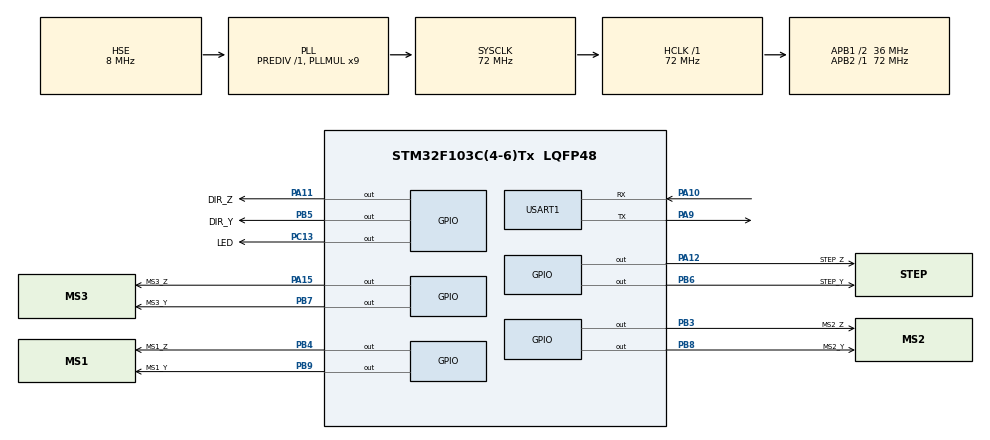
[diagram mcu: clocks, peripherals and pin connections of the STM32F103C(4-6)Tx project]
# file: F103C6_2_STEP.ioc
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Mcu.Family=STM32F1
Mcu.Name=STM32F103C(4-6)Tx
Mcu.Package=LQFP48
NVIC.PriorityGroup=NVIC_PRIORITYGROUP_4
NVIC.TIM2_IRQn=true\:0\:0\:false\:false\:true\:true\:true\:true
NVIC.TIM3_IRQn=true\:0\:0\:false\:false\:true\:true\:true\:true
NVIC.USART1_IRQn=true\:0\:0\:false\:false\:true\:true\:true\:true
PA10.Mode=Asynchronous
PA10.Signal=USART1_RX
PA11.GPIO_Label=DIR_Z
PA11.Signal=GPIO_Output
PA12.GPIO_Label=STEP_Z
PA12.Signal=GPIO_Output
PA13.Mode=Serial_Wire
PA13.Signal=SYS_JTMS-SWDIO
PA14.Mode=Serial_Wire
PA14.Signal=SYS_JTCK-SWCLK
PA15.GPIO_Label=MS3_Z
PA15.Signal=GPIO_Output
PA9.Mode=Asynchronous
PA9.Signal=USART1_TX
PB3.GPIO_Label=MS2_Z
PB3.Signal=GPIO_Output
PB4.GPIO_Label=MS1_Z
PB4.Signal=GPIO_Output
PB5.GPIO_Label=DIR_Y
PB5.Signal=GPIO_Output
PB6.GPIO_Label=STEP_Y
PB6.Signal=GPIO_Output
PB7.GPIO_Label=MS3_Y
PB7.Signal=GPIO_Output
PB8.GPIO_Label=MS2_Y
PB8.Signal=GPIO_Output
PB9.GPIO_Label=MS1_Y
PB9.Signal=GPIO_Output
PC13-TAMPER-RTC.GPIO_Label=LED
PC13-TAMPER-RTC.Signal=GPIO_Output
PD0-OSC_IN.Mode=HSE-External-Oscillator
PD0-OSC_IN.Signal=RCC_OSC_IN
PD1-OSC_OUT.Mode=HSE-External-Oscillator
PD1-OSC_OUT.Signal=RCC_OSC_OUT
ProjectManager.HeapSize=0x200
ProjectManager.StackSize=0x400
ProjectManager.TargetToolchain=MDK-ARM V5.32
RCC.AHBFreq_Value=72000000
RCC.APB1CLKDivider=RCC_HCLK_DIV2
RCC.APB1Freq_Value=36000000
RCC.APB1TimFreq_Value=72000000
RCC.APB2Freq_Value=72000000
RCC.APB2TimFreq_Value=72000000
RCC.HCLKFreq_Value=72000000
RCC.PLLMUL=RCC_PLL_MUL9
RCC.PLLSourceVirtual=RCC_PLLSOURCE_HSE
RCC.SYSCLKFreq_VALUE=72000000
RCC.SYSCLKSource=RCC_SYSCLKSOURCE_PLLCLK
RCC.USBFreq_Value=72000000
TIM2.Period=100-1
TIM2.Prescaler=72-1
TIM3.Period=100-1
TIM3.Prescaler=72-1
USART1.VirtualMode=VM_ASYNC
VP_TIM1_VS_ClockSourceINT.Mode=Internal
VP_TIM2_VS_ClockSourceINT.Mode=Internal
VP_TIM3_VS_ClockSourceINT.Mode=Internal
board=custom

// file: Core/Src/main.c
/* USER CODE BEGIN Header */
/**
 ******************************************************************************
 * @file           : main.c
 * @brief          : Main program body
 ******************************************************************************
 * @attention
 *
 * Copyright (c) 2023 STMicroelectronics.
 * All rights reserved.
 *
 * This software is licensed under terms that can be found in the LICENSE file
 * in the root directory of this software component.
 * If no LICENSE file comes with this software, it is provided AS-IS.
 *
 ******************************************************************************
 */
/* USER CODE END Header */
#include "main.h"
#include "tim.h"
#include "usart.h"
#include "gpio.h"

/* USER CODE BEGIN Includes */
#include "stdbool.h"
#include "stdio.h"
#include "stdlib.h"
#include "stepFloor.h"
#include "stepPosition.h"

/* USER CODE END Includes */

/* USER CODE BEGIN PV */
stepPosition_t stepP = {};
stepFloor_t stepF = {};
/* USER CODE END PV */

void SystemClock_Config(void);

/* USER CODE BEGIN 0 */
#define SIZE_DATA 128
volatile uint8_t pData[SIZE_DATA]  = {};
uint8_t RxData;
volatile uint8_t i = 0;
extern eFloor_t floorRead;
extern ePosition_t positionRead;

uint8_t num1 = 0, num2 = 0;
bool flagRx = false;

int led = 0;
uint16_t angle_floor = 0, angle_position = 0;
volatile uint64_t pulseP = 0, pulseF = 0;
uint16_t pulseStepP = 0, pulseStepF = 0;

void HAL_UART_RxCpltCallback(UART_HandleTypeDef *huart)
{
	if(huart->Instance == huart1.Instance)
	{
		pData[i++] = RxData;
		if(RxData == '\n')
		{
		  i = 0;
		  sscanf((char*)pData, "%d %d\n", &num1 , &num2);
		  flagRx = true;
		}
		HAL_UART_Receive_IT(&huart1,&RxData, 1);
	}
}
void HAL_TIM_PeriodElapsedCallback(TIM_HandleTypeDef *htim)
{
  if (htim->Instance == htim2.Instance)
  {
    if(pulseP != 0)
    {
      pulseP--;
      HAL_GPIO_TogglePin(STEP_Z_GPIO_Port, STEP_Z_Pin);
    }
    if(pulseF != 0)
    {
      pulseF--;
      HAL_GPIO_TogglePin(STEP_Y_GPIO_Port, STEP_Y_Pin);
    }
  }
}
/* USER CODE END 0 */

int main(void)
{

  /* MCU Configuration--------------------------------------------------------*/

  /* Reset of all peripherals, Initializes the Flash interface and the Systick. */
  HAL_Init();

  /* Configure the system clock */
  SystemClock_Config();

  /* Initialize all configured peripherals */
  MX_GPIO_Init();
  MX_TIM1_Init();
  MX_TIM2_Init();
  MX_TIM3_Init();
  MX_USART1_UART_Init();
  /* USER CODE BEGIN 2 */
  HAL_TIM_Base_Start_IT(&htim3);
  HAL_TIM_Base_Start_IT(&htim2);
  HAL_GPIO_WritePin(DIR_Z_GPIO_Port, DIR_Z_Pin, 1);
  HAL_GPIO_WritePin(DIR_Y_GPIO_Port, DIR_Y_Pin, 0);

  HAL_GPIO_WritePin(MS1_Z_GPIO_Port, MS1_Z_Pin, 1);   // config 1600
  HAL_GPIO_WritePin(MS2_Z_GPIO_Port, MS2_Z_Pin, 1);
  HAL_GPIO_WritePin(MS3_Z_GPIO_Port, MS3_Z_Pin, 1);

  HAL_GPIO_WritePin(MS1_Y_GPIO_Port, MS1_Y_Pin, 1);   // config 1600
  HAL_GPIO_WritePin(MS2_Y_GPIO_Port, MS2_Y_Pin, 1);
  HAL_GPIO_WritePin(MS3_Y_GPIO_Port, MS3_Y_Pin, 1);

  // value = 6400 / 4;  // 1600 = 10 m m

  step_floor_ctor(&stepF,
                  STEP_Y_GPIO_Port,
                  STEP_Y_Pin,
                  DIR_Y_GPIO_Port,
                  DIR_Y_Pin,
                  LED_GPIO_Port,
                  LED_Pin
  );
  step_position_ctor(&stepP,
                  STEP_Z_GPIO_Port,
                  STEP_Z_Pin,
                  DIR_Z_GPIO_Port,
                  DIR_Z_Pin,
                  LED_GPIO_Port,
                  LED_Pin
  );
  InfrStep_t const* step[] =
  {
    &stepF.inforStep,
	  &stepP.inforStep
  };

  HAL_GPIO_TogglePin(DIR_Z_GPIO_Port, DIR_Z_Pin);
  HAL_GPIO_TogglePin(DIR_Y_GPIO_Port, DIR_Y_Pin);

  HAL_UART_Receive_IT(&huart1, &RxData, 1);

  pulseStepP = getPulse(&stepP.inforStep);
  pulseStepF = getPulse(&stepF.inforStep);
  /* USER CODE END 2 */

  /* Infinite loop */
  while (1)
  {

    /* USER CODE BEGIN 3 */
    if(flagRx == true)
    {
      set_floor(&stepF, num2);
      set_position(&stepP, num1);
      flagRx = false;
    }

	  angle_position = get_angle_position(&stepP);
    angle_floor = get_angle_floor(&stepF);
    if(angle_position != 0)
    {
      pulseP = (float)pulseStepP * ((float)angle_position / 360.0);
      reseet_angle_position(&stepP);
    }
    if(angle_floor != 0)
    {
      pulseF = (float)pulseStepF *((float)angle_floor / 360.0);
      reset_angle_floor(&stepF);
    }
    move_to(step, sizeof(step)/ sizeof(step[0]));
    HAL_GPIO_WritePin(LED_GPIO_Port, LED_Pin, led);
    //HAL_Delay(500);
  }
  /* USER CODE END 3 */
}

void SystemClock_Config(void)
{
  RCC_OscInitTypeDef RCC_OscInitStruct = {0};
  RCC_ClkInitTypeDef RCC_ClkInitStruct = {0};

  /** Initializes the RCC Oscillators according to the specified parameters
  * in the RCC_OscInitTypeDef structure.
  */
  RCC_OscInitStruct.OscillatorType = RCC_OSCILLATORTYPE_HSE;
  RCC_OscInitStruct.HSEState = RCC_HSE_ON;
  RCC_OscInitStruct.HSEPredivValue = RCC_HSE_PREDIV_DIV1;
  RCC_OscInitStruct.HSIState = RCC_HSI_ON;
  RCC_OscInitStruct.PLL.PLLState = RCC_PLL_ON;
  RCC_OscInitStruct.PLL.PLLSource = RCC_PLLSOURCE_HSE;
  RCC_OscInitStruct.PLL.PLLMUL = RCC_PLL_MUL9;
  if (HAL_RCC_OscConfig(&RCC_OscInitStruct) != HAL_OK)
  {
    Error_Handler();
  }

  /** Initializes the CPU, AHB and APB buses clocks
  */
  RCC_ClkInitStruct.ClockType = RCC_CLOCKTYPE_HCLK|RCC_CLOCKTYPE_SYSCLK
                              |RCC_CLOCKTYPE_PCLK1|RCC_CLOCKTYPE_PCLK2;
  RCC_ClkInitStruct.SYSCLKSource = RCC_SYSCLKSOURCE_PLLCLK;
  RCC_ClkInitStruct.AHBCLKDivider = RCC_SYSCLK_DIV1;
  RCC_ClkInitStruct.APB1CLKDivider = RCC_HCLK_DIV2;
  RCC_ClkInitStruct.APB2CLKDivider = RCC_HCLK_DIV1;

  if (HAL_RCC_ClockConfig(&RCC_ClkInitStruct, FLASH_LATENCY_2) != HAL_OK)
  {
    Error_Handler();
  }
}

void Error_Handler(void)
{
  __disable_irq();
  while (1)
  {
  }
}
